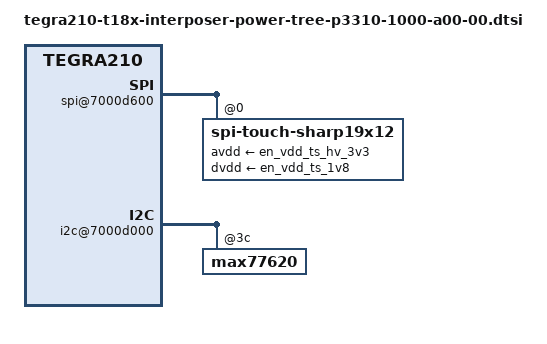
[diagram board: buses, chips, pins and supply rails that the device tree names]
/*
 * Copyright (c) 2015, NVIDIA CORPORATION.  All rights reserved.
 *
 * This program is free software; you can redistribute it and/or modify
 * it under the terms of the GNU General Public License as published by
 * the Free Software Foundation; either version 2 of the License, or
 * (at your option) any later version.
 *
 * This program is distributed in the hope that it will be useful, but WITHOUT
 * ANY WARRANTY; without even the implied warranty of MERCHANTABILITY or
 * FITNESS FOR A PARTICULAR PURPOSE.  See the GNU General Public License for
 * more details.
 *
 */

#include <dt-bindings/padctrl/tegra210-pads.h>
#include "tegra210-t18x-interposer-pmic-p3310-1000-a00-00.dtsi"
#include "tegra210-t18x-interposer-fixed-p3310-1000-a00-00.dtsi"
#include "tegra210-ers-power-dvfs-e2174-1101-a00.dtsi"

/ {
	dfll-ovr@70110000 {
		status = "disabled";
	};

	dfll-max77621@70110000 {
		status = "disabled";
	};

	pwm_regulators {
		pwm-regulator@0 {
			status = "disabled";
		};

		pwm-regulator@1 {
			status = "disabled";
		};
	};

	dvfs_rails {
		vdd-cpu-rail-max77621@2 {
			/delete-property/ vdd_cpu-supply;
		};

		vdd-gpu-rail-max77621@3 {
			/delete-property/ vdd_gpu-supply;
		};

		vdd-cpu-rail-max16989@5 {
			status = "okay";
			vdd_cpu-supply = <&max16989_cpu>;
		};

		vdd-gpu-rail-max16989@6 {
			status = "okay";
			vdd_gpu-supply = <&max16989_gpu>;
		};

		vdd-core-rail-max16989@7 {
			status = "okay";
			vdd_core-supply = <&max16989_soc>;
		};
	};

	spi@7000d600 {
		spi-touch-sharp19x12@0 {
			avdd-supply = <&en_vdd_ts_hv_3v3>;
			dvdd-supply = <&en_vdd_ts_1v8>;
		};
	};

	pmc-iopower {
		iopower-sys-supply = <&max77620_sd3>;
		iopower-uart-supply = <&max77620_sd3>;
		iopower-audio-supply = <&max77620_sd3>;
		iopower-cam-supply = <&max77620_sd3>;
		iopower-pex-ctrl-supply = <&max77620_sd3>;
		iopower-sdmmc1-supply = <&max77620_ldo2>;
		iopower-sdmmc3-supply = <&max77620_sd3>;
		iopower-sdmmc4-supply = <&max77620_sd3>;
		iopower-audio-hv-supply = <&max77620_sd3>;
		iopower-debug-supply = <&max77620_sd3>;
		iopower-dmic-supply = <&max77620_sd3>;
		iopower-gpio-supply = <&max77620_sd3>;
		iopower-spi-supply = <&max77620_sd3>;
		iopower-spi-hv-supply = <&max77620_sd3>;
		iopower-sdmmc2-supply = <&max77620_sd3>;
		iopower-dp-supply = <&max77620_sd3>;
	};

	pmc@7000e400 {
		io-pad-defaults {
			audio-hv {
				nvidia,io-pad-init-voltage = <IO_PAD_VOLTAGE_1_8V>;
			};

			spi-hv {
				nvidia,io-pad-init-voltage = <IO_PAD_VOLTAGE_1_8V>;
			};

			gpio {
				nvidia,io-pad-init-voltage = <IO_PAD_VOLTAGE_1_8V>;
			};
			sdmmc3 {
				nvidia,io-pad-init-voltage = <IO_PAD_VOLTAGE_1_8V>;
			};
		};
	};

	i2c@7000d000 {
		max77620@3c {
			regulators {
				sd0 {
					regulator-enable-ramp-delay = <146>;
					regulator-disable-ramp-delay = <4080>;
					regulator-ramp-delay = <27500>;
					regulator-ramp-delay-scale = <300>;
				};

				sd1 {
					regulator-enable-ramp-delay = <130>;
					regulator-disable-ramp-delay = <145800>;
					regulator-ramp-delay = <27500>;
					regulator-ramp-delay-scale = <300>;
				};

				sd2 {
					regulator-enable-ramp-delay = <176>;
					regulator-disable-ramp-delay = <32000>;
					regulator-ramp-delay = <27500>;
					regulator-ramp-delay-scale = <350>;
				};

				sd3 {
					regulator-enable-ramp-delay = <242>;
					regulator-disable-ramp-delay = <118000>;
					regulator-ramp-delay = <27500>;
					regulator-ramp-delay-scale = <360>;
				};

				ldo1 {
					regulator-enable-ramp-delay = <22>;
					regulator-disable-ramp-delay = <630>;
					regulator-ramp-delay = <100000>;
					regulator-ramp-delay-scale = <200>;
				};

				ldo2 {
					regulator-enable-ramp-delay = <62>;
					regulator-disable-ramp-delay = <650>;
					regulator-ramp-delay = <100000>;
					regulator-ramp-delay-scale = <200>;
				};

				ldo3 {
					regulator-enable-ramp-delay = <50>;
					regulator-disable-ramp-delay = <1110>;
					regulator-ramp-delay = <100000>;
					regulator-ramp-delay-scale = <200>;
				};

				ldo4 {
					regulator-enable-ramp-delay = <22>;
					regulator-disable-ramp-delay = <610>;
					regulator-ramp-delay = <100000>;
					regulator-ramp-delay-scale = <200>;
				};

				ldo5 {
					regulator-enable-ramp-delay = <62>;
					regulator-disable-ramp-delay = <640>;
					regulator-ramp-delay = <100000>;
					regulator-ramp-delay-scale = <200>;
				};

				ldo6 {
					regulator-enable-ramp-delay = <36>;
					regulator-disable-ramp-delay = <674>;
					regulator-ramp-delay = <100000>;
					regulator-ramp-delay-scale = <200>;
				};

				ldo7 {
					regulator-enable-ramp-delay = <24>;
					regulator-disable-ramp-delay = <2768>;
					regulator-ramp-delay = <100000>;
					regulator-ramp-delay-scale = <200>;
				};

			};
		};
	};

	udc@7d000000 {
		avdd_usb-supply = <&vdd_3v3>;
		avdd_pll_utmip-supply = <&max77620_sd3>;
	};

	otg@7d000000 {
		usb_vbus-supply = <&battery_reg>;
	};
};
